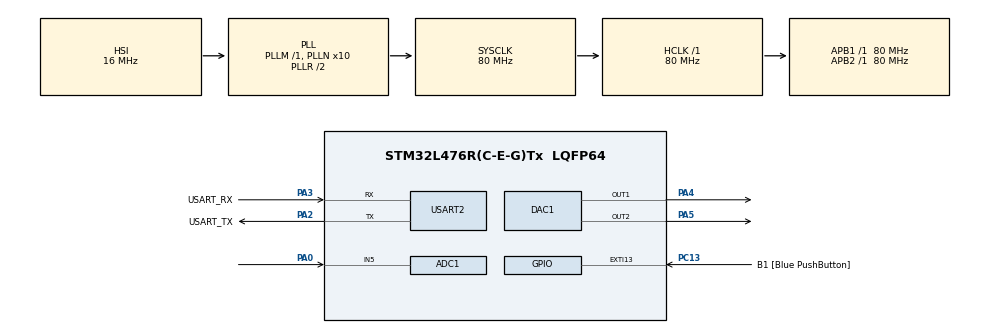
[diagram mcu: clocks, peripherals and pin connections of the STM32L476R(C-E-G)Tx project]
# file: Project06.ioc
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ADC1.Channel-0\#ChannelRegularConversion=ADC_CHANNEL_5
ADC1.ContinuousConvMode=ENABLE
ADC1.DMAContinuousRequests=ENABLE
ADC1.ExternalTrigConv=ADC_EXTERNALTRIG_T3_TRGO
ADC1.NbrOfConversionFlag=1
ADC1.OffsetNumber-0\#ChannelRegularConversion=ADC_OFFSET_NONE
ADC1.Rank-0\#ChannelRegularConversion=1
ADC1.SamplingTime-0\#ChannelRegularConversion=ADC_SAMPLETIME_2CYCLES_5
ADC1.master=1
DAC1.DAC_Channel-DAC_OUT2=DAC_CHANNEL_2
DAC1.DAC_Trigger-DAC_OUT1=DAC_TRIGGER_T2_TRGO
DAC1.DAC_Trigger-DAC_OUT2=DAC_TRIGGER_T2_TRGO
Dma.ADC1.1.Direction=DMA_PERIPH_TO_MEMORY
Dma.ADC1.1.Instance=DMA1_Channel1
Dma.ADC1.1.MemDataAlignment=DMA_MDATAALIGN_HALFWORD
Dma.ADC1.1.MemInc=DMA_MINC_ENABLE
Dma.ADC1.1.Mode=DMA_CIRCULAR
Dma.ADC1.1.PeriphDataAlignment=DMA_PDATAALIGN_HALFWORD
Dma.ADC1.1.PeriphInc=DMA_PINC_DISABLE
Dma.ADC1.1.Priority=DMA_PRIORITY_LOW
Dma.DAC_CH1.0.Direction=DMA_MEMORY_TO_PERIPH
Dma.DAC_CH1.0.Instance=DMA1_Channel3
Dma.DAC_CH1.0.MemDataAlignment=DMA_MDATAALIGN_WORD
Dma.DAC_CH1.0.MemInc=DMA_MINC_ENABLE
Dma.DAC_CH1.0.Mode=DMA_CIRCULAR
Dma.DAC_CH1.0.PeriphDataAlignment=DMA_PDATAALIGN_WORD
Dma.DAC_CH1.0.PeriphInc=DMA_PINC_DISABLE
Dma.DAC_CH1.0.Priority=DMA_PRIORITY_HIGH
Dma.Request0=DAC_CH1
Dma.Request1=ADC1
Mcu.Family=STM32L4
Mcu.Name=STM32L476R(C-E-G)Tx
Mcu.Package=LQFP64
NVIC.DMA1_Channel1_IRQn=true\:0\:0\:false\:false\:true\:false\:true\:true
NVIC.DMA1_Channel3_IRQn=true\:0\:0\:false\:false\:true\:false\:true\:true
NVIC.PriorityGroup=NVIC_PRIORITYGROUP_4
PA0.Signal=ADCx_IN5
PA13\ (JTMS-SWDIO).GPIO_Label=TMS
PA13\ (JTMS-SWDIO).Mode=Serial_Wire
PA13\ (JTMS-SWDIO).Signal=SYS_JTMS-SWDIO
PA14\ (JTCK-SWCLK).GPIO_Label=TCK
PA14\ (JTCK-SWCLK).Mode=Serial_Wire
PA14\ (JTCK-SWCLK).Signal=SYS_JTCK-SWCLK
PA2.GPIO_Label=USART_TX
PA2.GPIO_Mode=GPIO_MODE_AF_PP
PA2.GPIO_PuPd=GPIO_NOPULL
PA2.GPIO_Speed=GPIO_SPEED_FREQ_VERY_HIGH
PA2.Mode=Asynchronous
PA2.Signal=USART2_TX
PA3.GPIO_Label=USART_RX
PA3.GPIO_Mode=GPIO_MODE_AF_PP
PA3.GPIO_PuPd=GPIO_NOPULL
PA3.GPIO_Speed=GPIO_SPEED_FREQ_VERY_HIGH
PA3.Mode=Asynchronous
PA3.Signal=USART2_RX
PA4.Signal=COMP_DAC11_group
PA5.Signal=COMP_DAC12_group
PB3\ (JTDO-TRACESWO).GPIO_Label=SWO
PB3\ (JTDO-TRACESWO).Signal=SYS_JTDO-SWO
PC13.GPIO_Label=B1 [Blue PushButton]
PC13.GPIO_ModeDefaultEXTI=GPIO_MODE_IT_FALLING
PC13.GPIO_PuPd=GPIO_NOPULL
PC13.Signal=GPXTI13
PC14-OSC32_IN\ (PC14).Mode=LSE-External-Oscillator
PC14-OSC32_IN\ (PC14).Signal=RCC_OSC32_IN
PC15-OSC32_OUT\ (PC15).Mode=LSE-External-Oscillator
PC15-OSC32_OUT\ (PC15).Signal=RCC_OSC32_OUT
PH0-OSC_IN\ (PH0).Signal=RCC_OSC_IN
PH1-OSC_OUT\ (PH1).Signal=RCC_OSC_OUT
ProjectManager.HeapSize=0x200
ProjectManager.StackSize=0x400
ProjectManager.TargetToolchain=STM32CubeIDE
RCC.ADCFreq_Value=64000000
RCC.AHBFreq_Value=80000000
RCC.APB1Freq_Value=80000000
RCC.APB1TimFreq_Value=80000000
RCC.APB2Freq_Value=80000000
RCC.APB2TimFreq_Value=80000000
RCC.CortexFreq_Value=80000000
RCC.HCLKFreq_Value=80000000
RCC.HSE_VALUE=8000000
RCC.HSI_VALUE=16000000
RCC.MSI_VALUE=4000000
RCC.PLLN=10
RCC.PLLSourceVirtual=RCC_PLLSOURCE_HSI
RCC.PREFETCH_ENABLE=1
RCC.SYSCLKFreq_VALUE=80000000
RCC.SYSCLKSource=RCC_SYSCLKSOURCE_PLLCLK
RCC.USBFreq_Value=64000000
RCC.VCOOutputFreq_Value=160000000
SH.ADCx_IN5.0=ADC1_IN5,IN5-Single-Ended
SH.COMP_DAC11_group.0=DAC1_OUT1,DAC_OUT1
SH.COMP_DAC12_group.0=DAC1_OUT2,DAC_OUT2
TIM2.Period=624
TIM2.Prescaler=0
TIM2.TIM_MasterOutputTrigger=TIM_TRGO_UPDATE
TIM3.Channel-PWM\ Generation1\ No\ Output=TIM_CHANNEL_1
TIM3.Period=8000
TIM3.Prescaler=0
TIM3.TIM_MasterOutputTrigger=TIM_TRGO_UPDATE
TIM5.Prescaler=79
USART2.VirtualMode-Asynchronous=VM_ASYNC
VP_TIM2_VS_ClockSourceINT.Mode=Internal
VP_TIM3_VS_ClockSourceINT.Mode=Internal
VP_TIM3_VS_no_output1.Mode=PWM Generation1 No Output
VP_TIM5_VS_ClockSourceINT.Mode=Internal
board=NUCLEO-L476RG

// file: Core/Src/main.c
/* USER CODE BEGIN Header */
/**
  ******************************************************************************
  * @file           : main.c
  * @brief          : Main program body
  ******************************************************************************
  * @attention
  *
  * Copyright (c) 2022 STMicroelectronics.
  * All rights reserved.
  *
  * This software is licensed under terms that can be found in the LICENSE file
  * in the root directory of this software component.
  * If no LICENSE file comes with this software, it is provided AS-IS.
  *
  ******************************************************************************
  */
/* USER CODE END Header */
#include "main.h"

/* USER CODE BEGIN Includes */
#include "DAC.h"
#include "ADC.h"
/* USER CODE END Includes */

ADC_HandleTypeDef hadc1;
DMA_HandleTypeDef hdma_adc1;

DAC_HandleTypeDef hdac1;
DMA_HandleTypeDef hdma_dac_ch1;

TIM_HandleTypeDef htim2;
TIM_HandleTypeDef htim3;
TIM_HandleTypeDef htim5;

UART_HandleTypeDef huart2;

/* USER CODE BEGIN PV */
static DAC_info_t signal01 = {
		.DAC_Handle = DAC1,
		.hdac = &hdac1,
		.channel = 1,
		.frequency = 1000,
		.maxv = 4095,
		.minv = 0,
		.noise = 0,
		.noise_bits = 0,
		.signal = Rectangle
};

DAC_info_t replay_signal = {
		.DAC_Handle = DAC1,
		.hdac = &hdac1,
		.channel = 1,
		.frequency = 0,
		.maxv = 0,
		.minv = 0,
		.noise = 0,
		.noise_bits = 0,
		.signal = Arbitrary
};

static ADC_info_t adc_capture = {
	.handle = &hadc1,
	.freq = 0,
	.signal = Arbitrary,
	.maxv = 0,
	.minv = 4095,
	.read_period = 2000,	// default read period is 500 milliseconds
	.mode = waiting,
	.samples = 0,
	.replay_length = 0
};

uint32_t wave_points[WAVE_POINTS];
uint16_t ADC_buffer[ADC_BUFFER_SIZE];

/* USER CODE END PV */

void SystemClock_Config(void);
static void MX_GPIO_Init(void);
static void MX_DMA_Init(void);
static void MX_USART2_UART_Init(void);
static void MX_DAC1_Init(void);
static void MX_TIM2_Init(void);
static void MX_ADC1_Init(void);
static void MX_TIM3_Init(void);
static void MX_TIM5_Init(void);

int main(void)
{

  /* MCU Configuration--------------------------------------------------------*/

  /* Reset of all peripherals, Initializes the Flash interface and the Systick. */
  HAL_Init();

  /* Configure the system clock */
  SystemClock_Config();

  /* Initialize all configured peripherals */
  MX_GPIO_Init();
  MX_DMA_Init();
  MX_USART2_UART_Init();
  MX_DAC1_Init();
  MX_TIM2_Init();
  MX_ADC1_Init();
  MX_TIM3_Init();
  MX_TIM5_Init();
  /* USER CODE BEGIN 2 */

  // Start the DAC Signal
  start_DAC_signal(&signal01, wave_points);
  // Start the ADC Capture
  ADC_capture(&adc_capture, ADC_buffer);

  /* USER CODE END 2 */

  /* Infinite loop */
  while (1)
  {
	if (adc_capture.mode == replay) {
		HAL_DAC_Stop_DMA(signal01.hdac, DAC_CHANNEL_1);
		// Set up the replay signal
		replay_signal.frequency = adc_capture.freq;
		replay_signal.maxv = adc_capture.maxv;
		replay_signal.minv = adc_capture.minv;
		replay_signal.signal = adc_capture.signal;
		// Replay the signal
		start_DAC_signal(&replay_signal, (uint32_t *)ADC_buffer);
	}

    /* USER CODE BEGIN 3 */
  }
  // will never get here gets rid of ekg warning
  ekg[1]=0;
  /* USER CODE END 3 */
}

void SystemClock_Config(void)
{
  RCC_OscInitTypeDef RCC_OscInitStruct = {0};
  RCC_ClkInitTypeDef RCC_ClkInitStruct = {0};

  /** Configure the main internal regulator output voltage
  */
  if (HAL_PWREx_ControlVoltageScaling(PWR_REGULATOR_VOLTAGE_SCALE1) != HAL_OK)
  {
    Error_Handler();
  }

  /** Initializes the RCC Oscillators according to the specified parameters
  * in the RCC_OscInitTypeDef structure.
  */
  RCC_OscInitStruct.OscillatorType = RCC_OSCILLATORTYPE_HSI;
  RCC_OscInitStruct.HSIState = RCC_HSI_ON;
  RCC_OscInitStruct.HSICalibrationValue = RCC_HSICALIBRATION_DEFAULT;
  RCC_OscInitStruct.PLL.PLLState = RCC_PLL_ON;
  RCC_OscInitStruct.PLL.PLLSource = RCC_PLLSOURCE_HSI;
  RCC_OscInitStruct.PLL.PLLM = 1;
  RCC_OscInitStruct.PLL.PLLN = 10;
  RCC_OscInitStruct.PLL.PLLP = RCC_PLLP_DIV7;
  RCC_OscInitStruct.PLL.PLLQ = RCC_PLLQ_DIV2;
  RCC_OscInitStruct.PLL.PLLR = RCC_PLLR_DIV2;
  if (HAL_RCC_OscConfig(&RCC_OscInitStruct) != HAL_OK)
  {
    Error_Handler();
  }

  /** Initializes the CPU, AHB and APB buses clocks
  */
  RCC_ClkInitStruct.ClockType = RCC_CLOCKTYPE_HCLK|RCC_CLOCKTYPE_SYSCLK
                              |RCC_CLOCKTYPE_PCLK1|RCC_CLOCKTYPE_PCLK2;
  RCC_ClkInitStruct.SYSCLKSource = RCC_SYSCLKSOURCE_PLLCLK;
  RCC_ClkInitStruct.AHBCLKDivider = RCC_SYSCLK_DIV1;
  RCC_ClkInitStruct.APB1CLKDivider = RCC_HCLK_DIV1;
  RCC_ClkInitStruct.APB2CLKDivider = RCC_HCLK_DIV1;

  if (HAL_RCC_ClockConfig(&RCC_ClkInitStruct, FLASH_LATENCY_4) != HAL_OK)
  {
    Error_Handler();
  }
}

static void MX_ADC1_Init(void)
{

  ADC_MultiModeTypeDef multimode = {0};
  ADC_ChannelConfTypeDef sConfig = {0};

  /** Common config
  */
  hadc1.Instance = ADC1;
  hadc1.Init.ClockPrescaler = ADC_CLOCK_ASYNC_DIV1;
  hadc1.Init.Resolution = ADC_RESOLUTION_12B;
  hadc1.Init.DataAlign = ADC_DATAALIGN_RIGHT;
  hadc1.Init.ScanConvMode = ADC_SCAN_DISABLE;
  hadc1.Init.EOCSelection = ADC_EOC_SINGLE_CONV;
  hadc1.Init.LowPowerAutoWait = DISABLE;
  hadc1.Init.ContinuousConvMode = ENABLE;
  hadc1.Init.NbrOfConversion = 1;
  hadc1.Init.DiscontinuousConvMode = DISABLE;
  hadc1.Init.ExternalTrigConv = ADC_EXTERNALTRIG_T3_TRGO;
  hadc1.Init.ExternalTrigConvEdge = ADC_EXTERNALTRIGCONVEDGE_RISING;
  hadc1.Init.DMAContinuousRequests = ENABLE;
  hadc1.Init.Overrun = ADC_OVR_DATA_PRESERVED;
  hadc1.Init.OversamplingMode = DISABLE;
  if (HAL_ADC_Init(&hadc1) != HAL_OK)
  {
    Error_Handler();
  }

  /** Configure the ADC multi-mode
  */
  multimode.Mode = ADC_MODE_INDEPENDENT;
  if (HAL_ADCEx_MultiModeConfigChannel(&hadc1, &multimode) != HAL_OK)
  {
    Error_Handler();
  }

  /** Configure Regular Channel
  */
  sConfig.Channel = ADC_CHANNEL_5;
  sConfig.Rank = ADC_REGULAR_RANK_1;
  sConfig.SamplingTime = ADC_SAMPLETIME_2CYCLES_5;
  sConfig.SingleDiff = ADC_SINGLE_ENDED;
  sConfig.OffsetNumber = ADC_OFFSET_NONE;
  sConfig.Offset = 0;
  if (HAL_ADC_ConfigChannel(&hadc1, &sConfig) != HAL_OK)
  {
    Error_Handler();
  }

}

static void MX_DAC1_Init(void)
{

  DAC_ChannelConfTypeDef sConfig = {0};

  /** DAC Initialization
  */
  hdac1.Instance = DAC1;
  if (HAL_DAC_Init(&hdac1) != HAL_OK)
  {
    Error_Handler();
  }

  /** DAC channel OUT1 config
  */
  sConfig.DAC_SampleAndHold = DAC_SAMPLEANDHOLD_DISABLE;
  sConfig.DAC_Trigger = DAC_TRIGGER_T2_TRGO;
  sConfig.DAC_OutputBuffer = DAC_OUTPUTBUFFER_ENABLE;
  sConfig.DAC_ConnectOnChipPeripheral = DAC_CHIPCONNECT_DISABLE;
  sConfig.DAC_UserTrimming = DAC_TRIMMING_FACTORY;
  if (HAL_DAC_ConfigChannel(&hdac1, &sConfig, DAC_CHANNEL_1) != HAL_OK)
  {
    Error_Handler();
  }

  /** DAC channel OUT2 config
  */
  if (HAL_DAC_ConfigChannel(&hdac1, &sConfig, DAC_CHANNEL_2) != HAL_OK)
  {
    Error_Handler();
  }

}

static void MX_TIM2_Init(void)
{

  TIM_ClockConfigTypeDef sClockSourceConfig = {0};
  TIM_MasterConfigTypeDef sMasterConfig = {0};

  htim2.Instance = TIM2;
  htim2.Init.Prescaler = 0;
  htim2.Init.CounterMode = TIM_COUNTERMODE_UP;
  htim2.Init.Period = 624;
  htim2.Init.ClockDivision = TIM_CLOCKDIVISION_DIV1;
  htim2.Init.AutoReloadPreload = TIM_AUTORELOAD_PRELOAD_DISABLE;
  if (HAL_TIM_Base_Init(&htim2) != HAL_OK)
  {
    Error_Handler();
  }
  sClockSourceConfig.ClockSource = TIM_CLOCKSOURCE_INTERNAL;
  if (HAL_TIM_ConfigClockSource(&htim2, &sClockSourceConfig) != HAL_OK)
  {
    Error_Handler();
  }
  sMasterConfig.MasterOutputTrigger = TIM_TRGO_UPDATE;
  sMasterConfig.MasterSlaveMode = TIM_MASTERSLAVEMODE_DISABLE;
  if (HAL_TIMEx_MasterConfigSynchronization(&htim2, &sMasterConfig) != HAL_OK)
  {
    Error_Handler();
  }
  /* USER CODE BEGIN TIM2_Init 2 */
  HAL_TIM_Base_Start(&htim2);
  /* USER CODE END TIM2_Init 2 */

}

static void MX_TIM3_Init(void)
{

  TIM_ClockConfigTypeDef sClockSourceConfig = {0};
  TIM_MasterConfigTypeDef sMasterConfig = {0};
  TIM_OC_InitTypeDef sConfigOC = {0};

  htim3.Instance = TIM3;
  htim3.Init.Prescaler = 0;
  htim3.Init.CounterMode = TIM_COUNTERMODE_UP;
  htim3.Init.Period = 8000;
  htim3.Init.ClockDivision = TIM_CLOCKDIVISION_DIV1;
  htim3.Init.AutoReloadPreload = TIM_AUTORELOAD_PRELOAD_DISABLE;
  if (HAL_TIM_Base_Init(&htim3) != HAL_OK)
  {
    Error_Handler();
  }
  sClockSourceConfig.ClockSource = TIM_CLOCKSOURCE_INTERNAL;
  if (HAL_TIM_ConfigClockSource(&htim3, &sClockSourceConfig) != HAL_OK)
  {
    Error_Handler();
  }
  if (HAL_TIM_PWM_Init(&htim3) != HAL_OK)
  {
    Error_Handler();
  }
  sMasterConfig.MasterOutputTrigger = TIM_TRGO_UPDATE;
  sMasterConfig.MasterSlaveMode = TIM_MASTERSLAVEMODE_DISABLE;
  if (HAL_TIMEx_MasterConfigSynchronization(&htim3, &sMasterConfig) != HAL_OK)
  {
    Error_Handler();
  }
  sConfigOC.OCMode = TIM_OCMODE_PWM1;
  sConfigOC.Pulse = 0;
  sConfigOC.OCPolarity = TIM_OCPOLARITY_HIGH;
  sConfigOC.OCFastMode = TIM_OCFAST_DISABLE;
  if (HAL_TIM_PWM_ConfigChannel(&htim3, &sConfigOC, TIM_CHANNEL_1) != HAL_OK)
  {
    Error_Handler();
  }
  /* USER CODE BEGIN TIM3_Init 2 */
  HAL_TIM_Base_Start(&htim3);
  /* USER CODE END TIM3_Init 2 */

}

static void MX_TIM5_Init(void)
{

  TIM_ClockConfigTypeDef sClockSourceConfig = {0};
  TIM_MasterConfigTypeDef sMasterConfig = {0};

  htim5.Instance = TIM5;
  htim5.Init.Prescaler = 79;
  htim5.Init.CounterMode = TIM_COUNTERMODE_UP;
  htim5.Init.Period = 4294967295;
  htim5.Init.ClockDivision = TIM_CLOCKDIVISION_DIV1;
  htim5.Init.AutoReloadPreload = TIM_AUTORELOAD_PRELOAD_DISABLE;
  if (HAL_TIM_Base_Init(&htim5) != HAL_OK)
  {
    Error_Handler();
  }
  sClockSourceConfig.ClockSource = TIM_CLOCKSOURCE_INTERNAL;
  if (HAL_TIM_ConfigClockSource(&htim5, &sClockSourceConfig) != HAL_OK)
  {
    Error_Handler();
  }
  sMasterConfig.MasterOutputTrigger = TIM_TRGO_RESET;
  sMasterConfig.MasterSlaveMode = TIM_MASTERSLAVEMODE_DISABLE;
  if (HAL_TIMEx_MasterConfigSynchronization(&htim5, &sMasterConfig) != HAL_OK)
  {
    Error_Handler();
  }
  /* USER CODE BEGIN TIM5_Init 2 */
  HAL_TIM_Base_Start(&htim5);
  /* USER CODE END TIM5_Init 2 */

}

static void MX_USART2_UART_Init(void)
{

  huart2.Instance = USART2;
  huart2.Init.BaudRate = 115200;
  huart2.Init.WordLength = UART_WORDLENGTH_8B;
  huart2.Init.StopBits = UART_STOPBITS_1;
  huart2.Init.Parity = UART_PARITY_NONE;
  huart2.Init.Mode = UART_MODE_TX_RX;
  huart2.Init.HwFlowCtl = UART_HWCONTROL_NONE;
  huart2.Init.OverSampling = UART_OVERSAMPLING_16;
  huart2.Init.OneBitSampling = UART_ONE_BIT_SAMPLE_DISABLE;
  huart2.AdvancedInit.AdvFeatureInit = UART_ADVFEATURE_NO_INIT;
  if (HAL_UART_Init(&huart2) != HAL_OK)
  {
    Error_Handler();
  }

}

static void MX_DMA_Init(void)
{

  /* DMA controller clock enable */
  __HAL_RCC_DMA1_CLK_ENABLE();

  /* DMA interrupt init */
  /* DMA1_Channel1_IRQn interrupt configuration */
  HAL_NVIC_SetPriority(DMA1_Channel1_IRQn, 0, 0);
  HAL_NVIC_EnableIRQ(DMA1_Channel1_IRQn);
  /* DMA1_Channel3_IRQn interrupt configuration */
  HAL_NVIC_SetPriority(DMA1_Channel3_IRQn, 0, 0);
  HAL_NVIC_EnableIRQ(DMA1_Channel3_IRQn);

}

static void MX_GPIO_Init(void)
{
  GPIO_InitTypeDef GPIO_InitStruct = {0};

  /* GPIO Ports Clock Enable */
  __HAL_RCC_GPIOC_CLK_ENABLE();
  __HAL_RCC_GPIOH_CLK_ENABLE();
  __HAL_RCC_GPIOA_CLK_ENABLE();
  __HAL_RCC_GPIOB_CLK_ENABLE();

  /*Configure GPIO pin : B1_Pin */
  GPIO_InitStruct.Pin = B1_Pin;
  GPIO_InitStruct.Mode = GPIO_MODE_IT_FALLING;
  GPIO_InitStruct.Pull = GPIO_NOPULL;
  HAL_GPIO_Init(B1_GPIO_Port, &GPIO_InitStruct);

}

void Error_Handler(void)
{
  __disable_irq();
  while (1)
  {
  }
}
